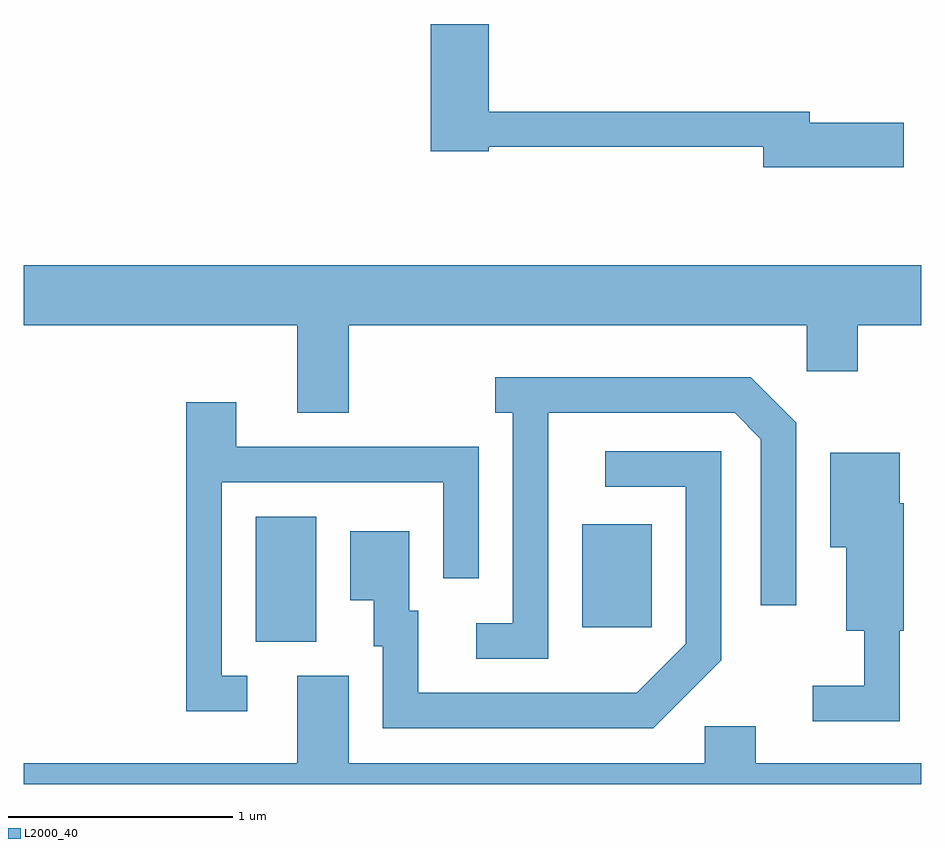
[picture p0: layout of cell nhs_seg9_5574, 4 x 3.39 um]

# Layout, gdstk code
import gdstk
lib = gdstk.Library(unit=1e-6, precision=1e-09)
def R(c, l, rs):  # rectangles x0, y0, x1, y1
    for r in rs: c.add(gdstk.rectangle(r[:2], r[2:], *l))
def P(c, l, *ps):  # polygons
    for p in ps: c.add(gdstk.Polygon(p, *l))
L2000_40 = (2000, 40)

nhs_seg9_5574 = lib.new_cell('nhs_seg9_5574')
R(nhs_seg9_5574, L2000_40, [(350.646,1997.066,350.914,1997.624), (352.101,1997.131,352.409,1997.589)])
P(nhs_seg9_5574, L2000_40, [(353.534,1999.379),(353.114,1999.379),(353.114,1999.429),(351.684,1999.429),(351.684,1999.819),(351.426,1999.819),(351.426,1999.251),(351.684,1999.251),(351.684,1999.271),(352.906,1999.271),(352.906,1999.181),(353.534,1999.181)],
  [(351.059,1998.476),(353.101,1998.476),(353.101,1998.271),(353.329,1998.271),(353.329,1998.476),(353.611,1998.476),(353.611,1998.744),(349.611,1998.744),(349.611,1998.476),(350.831,1998.476),(350.831,1998.086),(351.059,1998.086)],
  [(351.949,1998.086),(352.779,1998.086),(352.896,1997.969),(352.896,1997.228),(353.054,1997.228),(353.054,1998.042),(352.852,1998.244),(351.713,1998.244),(351.713,1998.086),(351.791,1998.086),(351.791,1997.149),(351.628,1997.149),(351.628,1996.991),(351.949,1996.991)],
  [(350.608,1996.914),(350.494,1996.914),(350.494,1997.776),(351.481,1997.776),(351.481,1997.348),(351.639,1997.348),(351.639,1997.934),(350.559,1997.934),(350.559,1998.134),(350.336,1998.134),(350.336,1996.756),(350.608,1996.756)],
  [(352.719,1996.984),(352.719,1997.914),(352.203,1997.914),(352.203,1997.756),(352.561,1997.756),(352.561,1997.057),(352.344,1996.839),(351.369,1996.839),(351.369,1997.204),(351.329,1997.204),(351.329,1997.559),(351.066,1997.559),(351.066,1997.251),(351.171,1997.251),(351.171,1997.046),(351.211,1997.046),(351.211,1996.681),(352.417,1996.681)],
  [(353.514,1997.116),(353.534,1997.116),(353.534,1997.684),(353.514,1997.684),(353.514,1997.909),(353.206,1997.909),(353.206,1997.486),(353.276,1997.486),(353.276,1997.116),(353.356,1997.116),(353.356,1996.869),(353.128,1996.869),(353.128,1996.711),(353.514,1996.711)],
  [(353.611,1996.524),(352.874,1996.524),(352.874,1996.689),(352.646,1996.689),(352.646,1996.524),(351.059,1996.524),(351.059,1996.914),(350.831,1996.914),(350.831,1996.524),(349.611,1996.524),(349.611,1996.432),(353.611,1996.432)])

lib.write_gds('nhs_seg9_5574.gds')
